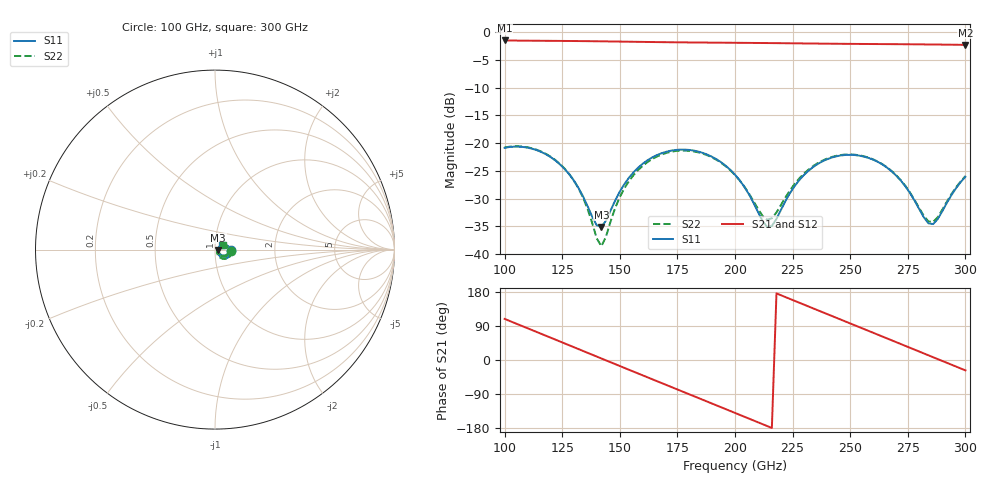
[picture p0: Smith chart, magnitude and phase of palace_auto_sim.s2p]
#  GHZ S DB R 50
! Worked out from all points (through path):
!   101 points, 100 GHz to 300 GHz, reference 50 ohm
!   highest |S21| = -1.47 dB at 100 GHz (marker M1); lowest = -2.3 dB at 300 GHz (marker M2)
!   group delay of S21, straight-line fit = 6.88 ps
!   lowest |S11| = -35.1 dB at 142 GHz (marker M3), VSWR 1.04, Z = 51.8 - j0.145 ohm
!   |S11| at or under -10 dB: start of sweep to end of sweep
!   |S22| runs from -38.6 to -20.6 dB; largest |S21 - S12| = 9.7e-14
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100  -20.83 -2.1  -1.47 108.4  -1.47 108.4  -20.77 -3.5
108  -20.68 -17.8  -1.51 88.6  -1.51 88.6  -20.62 -19.8
116  -21.60 -33.2  -1.53 68.8  -1.53 68.8  -21.52 -36.0
126  -24.62 -49.7  -1.56 43.9  -1.56 43.9  -24.56 -54.6
134  -29.56 -53.1  -1.59 24.0  -1.59 24.0  -29.77 -62.6
140  -34.81 -25.1  -1.62 9.0  -1.62 9.0  -37.17 -39.0
142  -35.13 -4.6  -1.63 4.0  -1.63 4.0  -38.57 -9.4
150  -28.73 31.8  -1.67 -15.9  -1.67 -15.9  -29.71 39.3
154  -26.21 30.6  -1.70 -25.8  -1.70 -25.8  -26.82 36.6
168  -21.83 9.1  -1.78 -60.5  -1.78 -60.5  -22.07 12.8
184  -21.50 -21.5  -1.84 -100.0  -1.84 -100.0  -21.65 -18.4
200  -25.68 -47.4  -1.89 -139.6  -1.89 -139.6  -25.73 -43.1
214  -35.13 -15.2  -1.94 -174.4  -1.94 -174.4  -33.80 -10.8
216  -34.93 3.2  -1.95 -179.3  -1.95 -179.3  -33.54 4.0
224  -28.91 32.4  -1.98 160.8  -1.98 160.8  -28.42 29.5
234  -24.27 23.5  -2.03 136.1  -2.03 136.1  -24.10 21.5
244  -22.36 6.2  -2.07 111.3  -2.07 111.3  -22.27 4.8
252  -22.14 -8.9  -2.09 91.6  -2.09 91.6  -22.07 -10.0
268  -25.07 -36.0  -2.14 52.0  -2.14 52.0  -25.02 -36.7
278  -30.40 -39.1  -2.17 27.2  -2.17 27.2  -30.27 -39.3
286  -34.58 4.0  -2.20 7.3  -2.20 7.3  -34.20 2.7
300  -26.05 34.2  -2.26 -27.3  -2.26 -27.3  -25.95 31.8
